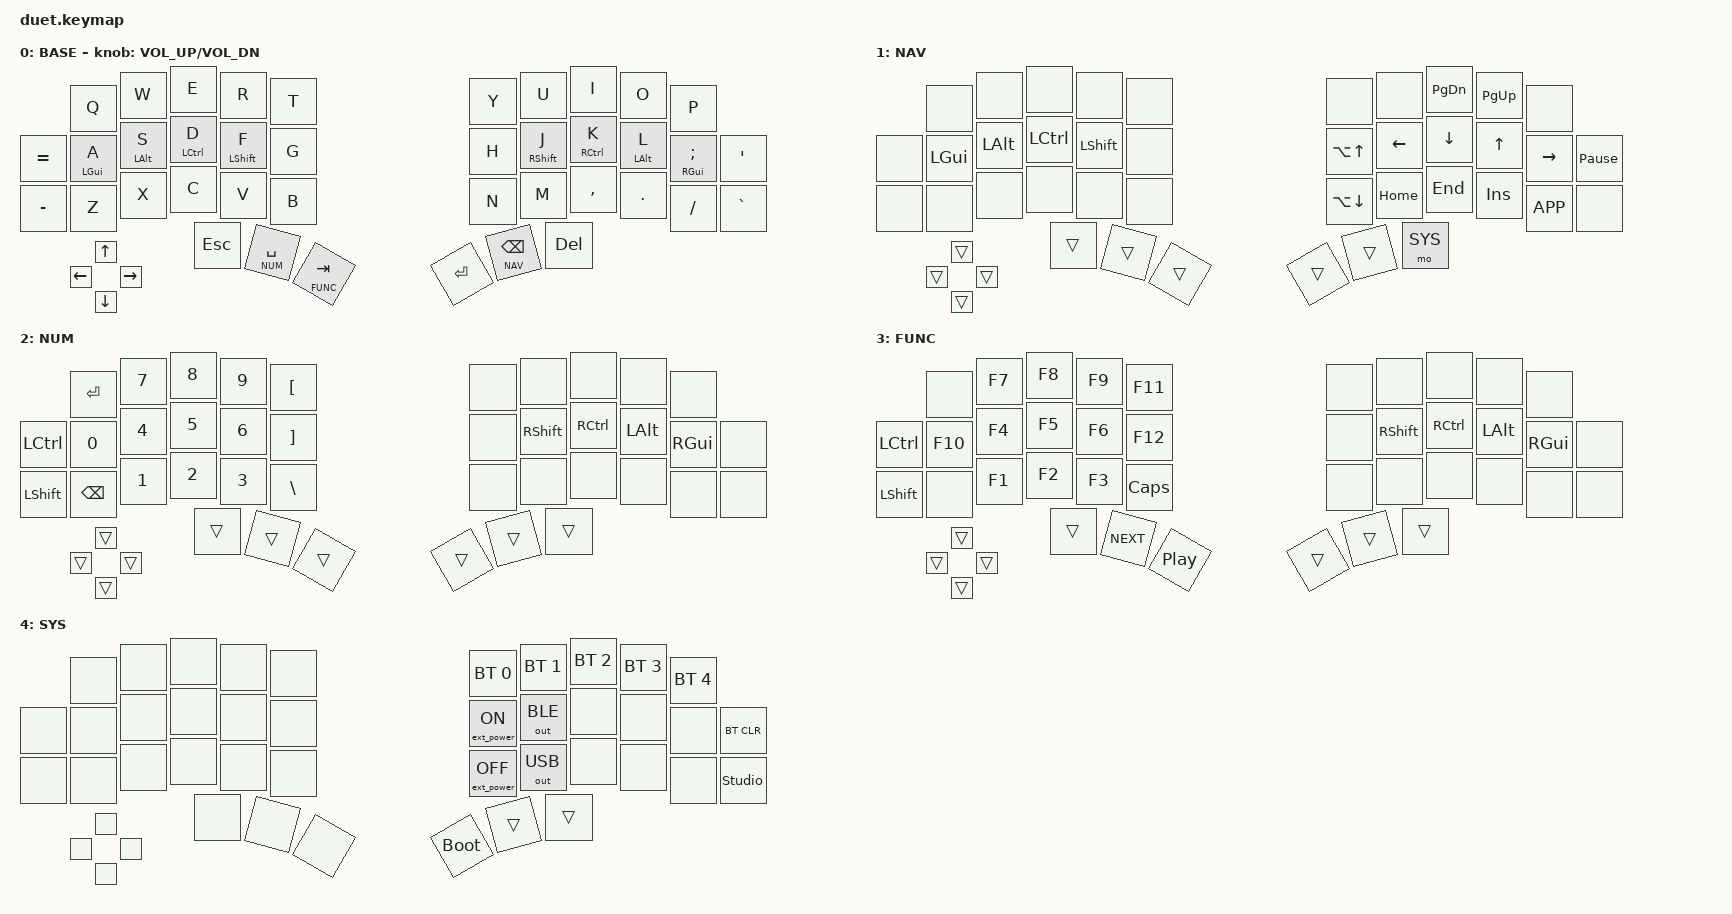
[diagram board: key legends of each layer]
/*
 * Copyright (c) 2020 The ZMK Contributors
 *
 * SPDX-License-Identifier: MIT
 */

#include <behaviors.dtsi>
#include <dt-bindings/zmk/keys.h>
#include <dt-bindings/zmk/bt.h>
#include <dt-bindings/zmk/outputs.h>
#include <dt-bindings/zmk/ext_power.h>

#define BASE 0
#define NAV 1
#define NUM 2
#define FUNC 3
#define SYS 4

/ {
    behaviors {
        hm: homerow_mods {
            compatible = "zmk,behavior-hold-tap";
            #binding-cells = <2>;
            tapping-term-ms = <200>;
            flavor = "tap-preferred";
            bindings = <&kp>, <&kp>;
        };
    };

    keymap {
        compatible = "zmk,keymap";

        default_layer {
            display-name = "BASE";

            bindings = <
                           &kp Q        &kp W        &kp E         &kp R         &kp T            &kp Y      &kp U         &kp I         &kp O        &kp P
                &kp EQUAL  &hm LGUI A   &hm LALT S   &hm LCTRL D   &hm LSHFT F   &kp G            &kp H      &hm RSHFT J   &hm RCTRL K   &hm LALT L   &hm RGUI SEMI  &kp SQT
                &kp MINUS  &kp Z        &kp X        &kp C         &kp V         &kp B            &kp N      &kp M         &kp COMMA     &kp DOT      &kp SLASH       &kp GRAVE
                                                   &kp ESC  &lt NUM SPACE  &lt FUNC TAB        &kp ENTER  &lt NAV BSPC  &kp DEL
                &kp LEFT  &kp DOWN  &kp UP  &kp RIGHT
            >;

            sensor-bindings = <&inc_dec_kp C_VOL_UP C_VOL_DN>;
        };

        nav_layer {
            display-name = "NAV";

            bindings = <
                          &none       &none        &none        &none        &none            &none         &none        &kp PG_DN    &kp PG_UP    &none
                &none     &kp LGUI    &kp LALT     &kp LCTRL    &kp LSHFT    &none            &kp LA(UP)    &kp LEFT     &kp DOWN     &kp UP       &kp RIGHT    &kp PAUSE_BREAK
                &none     &none       &none        &none        &none        &none            &kp LA(DOWN)  &kp HOME     &kp END      &kp INS      &kp K_APP    &none
                                                        &trans     &trans     &trans        &trans      &trans     &mo SYS
                &trans  &trans  &trans  &trans
            >;
        };

        num_layer {
            display-name = "NUM";

            bindings = <
                            &kp ENTER  &kp N7      &kp N8      &kp N9      &kp LBKT           &none        &none        &none        &none        &none
                &kp LCTRL   &kp N0     &kp N4      &kp N5      &kp N6      &kp RBKT           &none        &kp RSHFT    &kp RCTRL    &kp LALT     &kp RGUI     &none
                &kp LSHFT   &kp BSPC   &kp N1      &kp N2      &kp N3      &kp BSLH           &none        &none        &none        &none        &none        &none
                                                         &trans     &trans     &trans       &trans      &trans     &trans
                &trans  &trans  &trans  &trans
            >;
        };

        func_layer {
            display-name = "FUNC";

            bindings = <
                           &none       &kp F7      &kp F8      &kp F9      &kp F11             &none        &none        &none        &none        &none
                &kp LCTRL  &kp F10     &kp F4      &kp F5      &kp F6      &kp F12             &none        &kp RSHFT    &kp RCTRL    &kp LALT     &kp RGUI    &none
                &kp LSHFT  &none       &kp F1      &kp F2      &kp F3      &kp CAPS            &none        &none        &none        &none        &none       &none
                                                    &trans     &kp C_NEXT     &kp C_PP       &trans      &trans     &trans
                &trans  &trans  &trans  &trans
            >;
        };

        sys_layer {
            display-name = "SYS";

            bindings = <
                          &none     &none     &none     &none     &none           &bt BT_SEL 0       &bt BT_SEL 1  &bt BT_SEL 2  &bt BT_SEL 3  &bt BT_SEL 4
                &none     &none     &none     &none     &none     &none           &ext_power EP_ON   &out OUT_BLE  &none         &none         &none           &bt BT_CLR
                &none     &none     &none     &none     &none     &none           &ext_power EP_OFF  &out OUT_USB  &none         &none         &none           &studio_unlock
                                                &none     &none     &none       &bootloader      &trans     &trans
                &none  &none  &none  &none
            >;
        };

        extra1 {
            status = "reserved";
        };

        extra2 {
            status = "reserved";
        };

        extra3 {
            status = "reserved";
        };

    };
};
